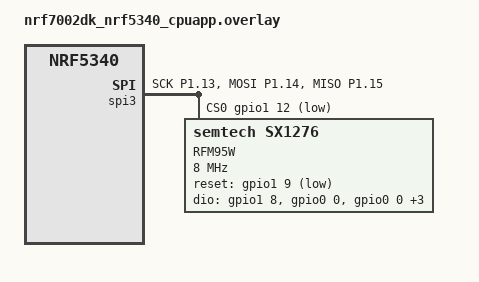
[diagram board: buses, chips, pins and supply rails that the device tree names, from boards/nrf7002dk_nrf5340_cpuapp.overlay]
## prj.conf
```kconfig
# 基础外设
CONFIG_GPIO=y
CONFIG_SPI=y

# LoRa 驱动（SX127x）
CONFIG_LORA=y
CONFIG_LORA_SX127X=y

# 日志
CONFIG_LOG=y
CONFIG_LOG_DEFAULT_LEVEL=3
CONFIG_UART_CONSOLE=y        # ✅ 指定使用 UART 作为控制台
CONFIG_STDOUT_CONSOLE=y      # ✅ 把 printk()、LOG_xx() 输出绑定到 stdout
CONFIG_LOG_MODE_IMMEDIATE=y  # ✅ 确保日志立即输出，不缓存
CONFIG_LOG_PROCESS_THREAD_SLEEP_MS=10
CONFIG_LOG_PROCESS_THREAD_STACK_SIZE=1024
# CONFIG_LORA_LOG_LEVEL_DBG=y
# CONFIG_LOG_DEFAULT_LEVEL=4

CONFIG_SERIAL=y
CONFIG_CONSOLE=y

# 适当加大栈
CONFIG_MAIN_STACK_SIZE=2048

# 浮点数打印支持
CONFIG_CBPRINTF_FP_SUPPORT=y
CONFIG_PICOLIBC_IO_FLOAT=y
```

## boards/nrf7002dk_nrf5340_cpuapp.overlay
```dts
// rx

/ {
    aliases {
        lora0 = &rfm95;
    };
};

/* SPI3 使用 Port 1：SCK=P1.13, MOSI=P1.14, MISO=P1.15 */
&spi3 {
    compatible = "nordic,nrf-spim";
    status = "okay";

    pinctrl-0 = <&spi3_default>;
    pinctrl-1 = <&spi3_sleep>;
    cs-gpios = <&gpio1 12 GPIO_ACTIVE_LOW>;   // CS = P1.12

    rfm95: sx1276@0 {
        compatible = "semtech,sx1276";
        reg = <0>;
        label = "RFM95W";
        spi-max-frequency = <8000000>;

        /* 必须要有这些引脚定义 */
        reset-gpios = <&gpio1 9 GPIO_ACTIVE_LOW>;   // RST = P1.09
       // dio-gpios   = <&gpio1 8 GPIO_ACTIVE_HIGH>;  // DIO0 = P1.08


        dio-gpios = <&gpio1 8 (GPIO_ACTIVE_HIGH | GPIO_PULL_UP)>, <&gpio0 0 GPIO_ACTIVE_HIGH>, <&gpio0 0 GPIO_ACTIVE_HIGH>,
                    <&gpio0 0 GPIO_ACTIVE_HIGH>, <&gpio0 0 GPIO_ACTIVE_HIGH>, <&gpio0 0 GPIO_ACTIVE_HIGH>;


        interrupt-parent = <&gpio1>;  

        /* 指定功率放大路径，否则会触发 BUILD_ASSERT 报错 */
        power-amplifier-output = "pa-boost";
       // public-network = <1>;   // ✅ 替代 pa-boost

        /* 如果你希望支持接收，也可加上 RX boost (可选) */
        // rfo-enable-gpios = <&gpio1 7 GPIO_ACTIVE_HIGH>;
    };
};

&pinctrl {
    spi3_default: spi3_default {
        group1 {
            psels = <NRF_PSEL(SPIM_SCK,  1, 13)>,
                    <NRF_PSEL(SPIM_MOSI, 1, 14)>,
                    <NRF_PSEL(SPIM_MISO, 1, 15)>;
        };
    };

    spi3_sleep: spi3_sleep {
        group1 {
            psels = <NRF_PSEL(SPIM_SCK,  1, 13)>,
                    <NRF_PSEL(SPIM_MOSI, 1, 14)>,
                    <NRF_PSEL(SPIM_MISO, 1, 15)>;
            low-power-enable;
        };
    };
};
```

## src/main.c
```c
#include <math.h>
#include <string.h>
#include <zephyr/device.h>
#include <zephyr/drivers/spi.h>
#include <zephyr/kernel.h>
#include <zephyr/logging/log.h>

LOG_MODULE_REGISTER(main, LOG_LEVEL_INF);

/* ================= LoRa 参数 ================= */
#define LORA_FREQ_HZ 915000000UL
#define MAX_PAYLOAD 64

static int sx1276_read_reg(uint8_t reg, uint8_t *val); // ✅ 添加这行
/* ================= SPI 设置 ================= */
static struct spi_dt_spec lora_spi =
    SPI_DT_SPEC_GET(DT_NODELABEL(rfm95), SPI_WORD_SET(8) | SPI_TRANSFER_MSB, 0);

/* ================= 数据解包函数 ================= */
static void unpack_mag_data(const uint8_t *buf, uint8_t *node_id, uint32_t *seq,
                            int32_t *x, int32_t *y, int32_t *z) {
  *node_id = buf[0];

  // 序列号 (4 bytes, little-endian)
  *seq = ((uint32_t)buf[1] << 0) | ((uint32_t)buf[2] << 8) |
         ((uint32_t)buf[3] << 16) | ((uint32_t)buf[4] << 24);

  // X (4 bytes, little-endian, signed)
  *x = ((int32_t)buf[5] << 0) | ((int32_t)buf[6] << 8) |
       ((int32_t)buf[7] << 16) | ((int32_t)buf[8] << 24);

  // Y (4 bytes)
  *y = ((int32_t)buf[9] << 0) | ((int32_t)buf[10] << 8) |
       ((int32_t)buf[11] << 16) | ((int32_t)buf[12] << 24);

  // Z (4 bytes)
  *z = ((int32_t)buf[13] << 0) | ((int32_t)buf[14] << 8) |
       ((int32_t)buf[15] << 16) | ((int32_t)buf[16] << 24);
}

/* ================= SPI 基础读写 ================= */
static void sx1276_write_reg(uint8_t reg, uint8_t val) {

  if (reg == 0x01) {
    val |= 0x80; // 把 bit7=1
                 // LOG_INF("→ LoRa bit forced ON for RegOpMode write");
  }
  uint8_t tx_buf[2] = {reg | 0x80, val};
  struct spi_buf tx = {.buf = tx_buf, .len = 2};
  const struct spi_buf_set txs = {.buffers = &tx, .count = 1};
  int ret = spi_write_dt(&lora_spi, &txs);

  if (ret != 0) {
    LOG_ERR("SPI write failed! reg=0x%02X ret=%d", reg, ret);
  }

  // ✅ 验证 0x01 寄存器的写入
  if (reg == 0x01) {
    k_msleep(1);
    uint8_t readback;
    sx1276_read_reg(0x01, &readback);

    // if (readback != val) {
    //     LOG_ERR("Reg 0x01 verify FAILED! Wrote:0x%02X Read:0x%02X", val,
    //     readback);
    // } else {
    //     LOG_INF("Reg 0x01 verify OK: 0x%02X", readback);
    // }
  }
}

static int sx1276_read_reg(uint8_t reg, uint8_t *val) {
  uint8_t tx_buf[2] = {reg & 0x7F, 0x00};
  uint8_t rx_buf[2] = {0};
  struct spi_buf tx = {.buf = tx_buf, .len = 2};
  struct spi_buf rx = {.buf = rx_buf, .len = 2};
  const struct spi_buf_set tx_set = {.buffers = &tx, .count = 1};
  const struct spi_buf_set rx_set = {.buffers = &rx, .count = 1};
  int ret = spi_transceive_dt(&lora_spi, &tx_set, &rx_set);
  if (ret == 0)
    *val = rx_buf[1];
  return ret;
}

/* ================= LoRa 初始化 ================= */
static void sx1276_set_freq(uint32_t freq) {
  uint64_t frf = ((uint64_t)freq << 19) / 32000000;
  sx1276_write_reg(0x06, (frf >> 16) & 0xFF);
  sx1276_write_reg(0x07, (frf >> 8) & 0xFF);
  sx1276_write_reg(0x08, (frf) & 0xFF);
}

static void sx1276_reset(void) {
  const struct device *gpio_rst = DEVICE_DT_GET(DT_NODELABEL(gpio1)); // P1.x
  if (!device_is_ready(gpio_rst)) {
    LOG_ERR("gpio1 not ready!");
    return;
  }

  gpio_pin_configure(gpio_rst, 9, GPIO_OUTPUT_ACTIVE); // P1.09

  gpio_pin_set(gpio_rst, 9, 0); // 拉低复位
  k_msleep(2);                  // >= 1ms
  gpio_pin_set(gpio_rst, 9, 1); // 拉高
  k_msleep(10);                 // 给芯片时间稳定
                                // LOG_INF("SX1276 RST done");
}

static void sx1276_init_lora(void) {
  sx1276_reset();

  LOG_INF("SX1276 init...");
  sx1276_write_reg(0x01, 0x80); // Sleep + LoRa
  k_msleep(5);
  sx1276_write_reg(0x01, 0x81 | 0x80); // Standby

  sx1276_set_freq(LORA_FREQ_HZ);
  sx1276_write_reg(0x1D, 0x72); // BW125kHz, CR4/5
  sx1276_write_reg(0x1E, 0x74); // SF7 + CRC ON
  sx1276_write_reg(0x26, 0x04); // LowDataRateOptimize=OFF, AGC=ON
  sx1276_write_reg(0x09, 0x8F); // PA_BOOST + 14dBm
  sx1276_write_reg(0x12, 0xFF); // Clear IRQ

  sx1276_write_reg(0x39, 0x34); // SyncWord
  sx1276_write_reg(0x24, 0x00); // HopPeriod OFF
  sx1276_write_reg(0x0C, 0x23); // LNA Boost
  sx1276_write_reg(0x33, 0x27); // InvertIQ Normal
  sx1276_write_reg(0x3B, 0x1D); // InvertIQ2 固定值

  sx1276_write_reg(0x0E, 0x80); // ✅ TX FIFO base addr
  sx1276_write_reg(0x0F, 0x00); // ✅ RX FIFO base addr

  // LOG_INF("SX1276 basic config done.");
}

static void sx1276_enter_rx(void) {
  // sx1276_write_reg(0x01, 0x80); // Sleep
  // k_msleep(2);
  sx1276_write_reg(0x01, 0x81 | 0x80); // Standby

  // TX FIFO base = 0x80（发射端区域）
  sx1276_write_reg(0x0E, 0x80);

  // RX FIFO base = 0x00（接收端区域）
  sx1276_write_reg(0x0F, 0x00);

  // FIFO 指针回到 RX 区域头
  sx1276_write_reg(0x0D, 0x00);

  // 清中断 & DIO 映射到 RxDone
  sx1276_write_reg(0x12, 0xFF);
  sx1276_write_reg(0x40, 0x00);

  // 进入连续接收
  sx1276_write_reg(0x01, 0x85 | 0x80);

  // LOG_INF("RX ON");
}

/* ================= FIFO 读取函数 ================= */
static void sx1276_read_fifo(uint8_t *buf, uint8_t len) {
  uint8_t tx_buf[1 + MAX_PAYLOAD] = {0x00};
  uint8_t rx_buf[1 + MAX_PAYLOAD] = {0};
  tx_buf[0] = 0x00; // FIFO地址

  struct spi_buf tx = {.buf = tx_buf, .len = len + 1};
  struct spi_buf rx = {.buf = rx_buf, .len = len + 1};
  const struct spi_buf_set txs = {.buffers = &tx, .count = 1};
  const struct spi_buf_set rxs = {.buffers = &rx, .count = 1};
  spi_transceive_dt(&lora_spi, &txs, &rxs);

  memcpy(buf, &rx_buf[1], len);
}

/* ================= 主程序 ================= */
void main(void) {
  LOG_INF("==== SX1276 RX Debug Mode ====");

  if (!device_is_ready(lora_spi.bus)) {
    LOG_ERR("SPI bus not ready!");
    return;
  }

  sx1276_init_lora();
  sx1276_enter_rx();

  uint8_t irq, opmode, pktlen, fifo_rx_curr, rssi, modem_stat;
  uint8_t modemstat, hopchan; // <--- 新增
  uint8_t buf[MAX_PAYLOAD];

  while (1) {
    // 1. 读取状态
    sx1276_read_reg(0x12, &irq);
    sx1276_read_reg(0x1C, &hopchan);
    sx1276_read_reg(0x01, &opmode);
    sx1276_read_reg(0x18, &modem_stat);

    if ((opmode & 0x87) != 0x85) {
      // LOG_ERR("!! Mode wrong: %02X, FULL RESET...", opmode);

      // ✅ 直接调用初始化函数
      sx1276_init_lora();
      sx1276_enter_rx();

      uint8_t verify_modem;
      sx1276_read_reg(0x18, &verify_modem);
      // LOG_WRN("Full reset done, ModemStat=0x%02X", verify_modem);

      continue;
    }

    if (irq & 0x40) // RxDone
    {
      bool CrcError = (irq & 0x20);
      if (!CrcError) {
        uint8_t fifo_rx_curr, pktlen;
        sx1276_read_reg(0x10, &fifo_rx_curr);
        sx1276_read_reg(0x13, &pktlen);

        if (pktlen > MAX_PAYLOAD)
          pktlen = MAX_PAYLOAD;

        sx1276_write_reg(0x0D, fifo_rx_curr);
        sx1276_read_fifo(buf, pktlen);

        if (pktlen == 17) { // 检查是否是正确的数据包长度
          uint8_t node_id;
          uint32_t seq;
          int32_t x, y, z;

          unpack_mag_data(buf, &node_id, &seq, &x, &y, &z);

          // 转换成 Gauss
          float x_g = x * 0.0000625f;
          float y_g = y * 0.0000625f;
          float z_g = z * 0.0000625f;
          float mag = sqrtf(x_g * x_g + y_g * y_g + z_g * z_g);

          LOG_INF("Node:%u Seq:%lu X:%.3f Y:%.3f Z:%.3f |M|:%.3f G", node_id,
                  (unsigned long)seq, (double)x_g, (double)y_g, (double)z_g,
                  (double)mag);
        } else {
          LOG_WRN("Invalid packet length: %u (expected 17)", pktlen);
        }
      }

      //         buf[pktlen] = 0;
      //         LOG_INF("RECV: %s", buf);
      //       }  else {
      //         LOG_WRN("CRC error, dropped");
      //       }

      sx1276_write_reg(0x12, 0x40);

      // 重置FIFO
      sx1276_write_reg(0x0D, 0x00);

      // LOG_INF("Packet handled, back to RX mode");

      //    }

      k_msleep(50);
    }
  }
}

////////
```
